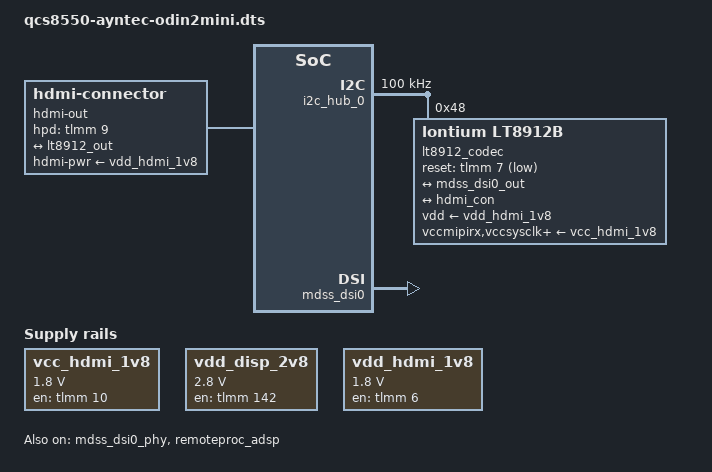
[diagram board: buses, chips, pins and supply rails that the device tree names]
// SPDX-License-Identifier: BSD-3-Clause
/*
 * Copyright (c) 2025, Teguh Sobirin.
 */

/dts-v1/;

#include <dt-bindings/gpio/gpio.h>
#include <dt-bindings/interrupt-controller/irq.h>
#include "qcs8550-ayntec-common.dtsi"

&{/} {
	model = "AYN Odin 2 Mini";
	compatible = "ayntec,odin2mini", "qcom,qcs8550", "qcom,sm8550";

	hdmi-out {
		compatible = "hdmi-connector";
		type = "d";
		hpd-gpios = <&tlmm 9 GPIO_ACTIVE_HIGH>;
		hdmi-pwr-supply = <&vdd_hdmi_1v8>;

		port {
			hdmi_con: endpoint {
				remote-endpoint = <&lt8912_out>;
			};
		};
	};

	vcc_hdmi_1v8: vcc-hdmi-1v8-regulator {
		compatible = "regulator-fixed";
		regulator-name = "vcc_hdmi_1v8";

		regulator-min-microvolt = <1800000>;
		regulator-max-microvolt = <1800000>;

		gpio = <&tlmm 10 GPIO_ACTIVE_HIGH>;
		enable-active-high;
	};

	vdd_disp_2v8: vdd-disp-2v8-regulator {
		compatible = "regulator-fixed";
		regulator-name = "vdd_disp_2v8";

		regulator-min-microvolt = <2800000>;
		regulator-max-microvolt = <2800000>;

		gpio = <&tlmm 142 GPIO_ACTIVE_HIGH>;
		enable-active-high;
	};

	vdd_hdmi_1v8: vdd-hdmi-1v8-regulator {
		compatible = "regulator-fixed";
		regulator-name = "vdd_hdmi_1v8";

		regulator-min-microvolt = <1800000>;
		regulator-max-microvolt = <1800000>;

		gpio = <&tlmm 6 GPIO_ACTIVE_HIGH>;
		enable-active-high;
	};
};

&i2c_hub_0 {
	clock-frequency = <100000>;

	status = "okay";

	#address-cells = <1>;
	#size-cells = <0>;

	lt8912_codec: hdmi-bridge@48 {
		compatible = "lontium,lt8912b";
		reg = <0x48> ;

		reset-gpios = <&tlmm 7 GPIO_ACTIVE_LOW>;

		vdd-supply = <&vdd_hdmi_1v8>;
		vccmipirx-supply = <&vcc_hdmi_1v8>;
		vccsysclk-supply = <&vcc_hdmi_1v8>;
		vcclvdstx-supply = <&vcc_hdmi_1v8>;
		vcchdmitx-supply = <&vcc_hdmi_1v8>;
		vcclvdspll-supply = <&vcc_hdmi_1v8>;
		vcchdmipll-supply = <&vcc_hdmi_1v8>;

		ports {
			#address-cells = <1>;
			#size-cells = <0>;

			port@0 {
				reg = <0>;

				hdmi_out_in: endpoint {
					data-lanes = <1 2 3 4>;
					remote-endpoint = <&mdss_dsi0_out>;
				};
			};

			port@1 {
				reg = <1>;

				lt8912_out: endpoint {
					remote-endpoint = <&hdmi_con>;
				};
			};
		};
	};
};

&mdss_dsi0 {
	vdda-supply = <&vreg_l3e_1p2>;

	status = "okay";
};

&mdss_dsi0_out {
	remote-endpoint = <&hdmi_out_in>;
	data-lanes = <0 1 2 3>;
};

&mdss_dsi0_phy {
	vdds-supply = <&vreg_l1e_0p88>;

	status = "okay";
};

&remoteproc_adsp {
	firmware-name = "qcom/sm8550/ayntec/odin2mini/adsp.mbn",
			"qcom/sm8550/ayntec/odin2mini/adsp_dtb.mbn";

	status = "okay";
};

&spk_amp_l {
	firmware-name = "qcom/sm8550/ayntec/odin2mini/aw883xx_acf.bin";
};

&spk_amp_r {
	firmware-name = "qcom/sm8550/ayntec/odin2mini/aw883xx_acf.bin";
};

